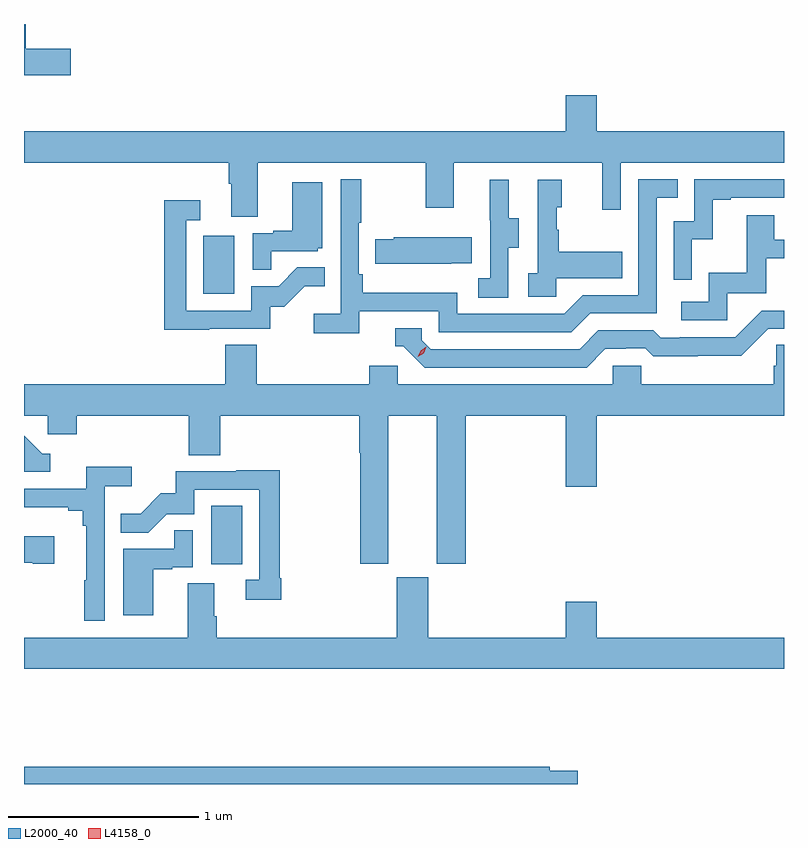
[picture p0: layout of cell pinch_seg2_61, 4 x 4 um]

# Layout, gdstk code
import gdstk
lib = gdstk.Library(unit=1e-6, precision=1e-09)
def R(c, l, rs):  # rectangles x0, y0, x1, y1
    for r in rs: c.add(gdstk.rectangle(r[:2], r[2:], *l))
def P(c, l, *ps):  # polygons
    for p in ps: c.add(gdstk.Polygon(p, *l))
L2000_40 = (2000, 40)
L4158_0 = (4158, 0)

pinch_seg2_61 = lib.new_cell('pinch_seg2_61')
R(pinch_seg2_61, L2000_40, [(1038.266,660.174,1038.43,660.481), (1038.224,661.596,1038.388,661.903)])
P(pinch_seg2_61, L2000_40, [(1037.527,662.888),(1037.291,662.888),(1037.291,663.017),(1037.281,663.017),(1037.281,662.746),(1037.527,662.746)],
  [(1038.511,662.288),(1039.396,662.288),(1039.396,662.049),(1039.543,662.049),(1039.543,662.288),(1040.324,662.288),(1040.324,662.04),(1040.421,662.04),(1040.421,662.288),(1041.281,662.288),(1041.281,662.452),(1040.296,662.452),(1040.296,662.641),(1040.132,662.641),(1040.132,662.452),(1037.281,662.452),(1037.281,662.288),(1038.359,662.288),(1038.359,662.176),(1038.371,662.176),(1038.371,662.002),(1038.511,662.002)],
  [(1039.046,661.506),(1039.464,661.506),(1039.464,661.395),(1040.161,661.395),(1040.26,661.494),(1040.61,661.494),(1040.61,662.103),(1040.723,662.103),(1040.723,662.199),(1040.514,662.199),(1040.514,661.59),(1040.223,661.59),(1040.124,661.491),(1039.56,661.491),(1039.56,661.603),(1039.064,661.603),(1039.064,661.699),(1039.044,661.699),(1039.044,661.972),(1039.057,661.972),(1039.057,662.2),(1038.948,662.2),(1038.948,661.492),(1038.807,661.492),(1038.807,661.39),(1039.046,661.39)],
  [(1040.796,661.883),(1040.906,661.883),(1040.906,662.091),(1041.001,662.091),(1041.001,662.103),(1041.281,662.103),(1041.281,662.199),(1040.808,662.199),(1040.808,661.98),(1040.7,661.98),(1040.7,661.671),(1040.796,661.671)],
  [(1039.83,661.84),(1039.885,661.84),(1039.885,661.995),(1039.831,661.995),(1039.831,662.197),(1039.733,662.197),(1039.733,661.983),(1039.734,661.983),(1039.734,661.679),(1039.671,661.679),(1039.671,661.576),(1039.83,661.576)],
  [(1040.082,661.679),(1040.429,661.679),(1040.429,661.819),(1040.095,661.819),(1040.095,661.934),(1040.085,661.934),(1040.085,662.052),(1040.11,662.052),(1040.11,662.197),(1039.986,662.197),(1039.986,661.706),(1039.935,661.706),(1039.935,661.581),(1040.082,661.581)],
  [(1038.581,661.821),(1038.828,661.821),(1038.828,661.836),(1038.85,661.836),(1038.85,662.185),(1038.692,662.185),(1038.692,661.93),(1038.593,661.93),(1038.593,661.917),(1038.486,661.917),(1038.486,661.723),(1038.581,661.723)],
  [(1038.257,661.413),(1038.576,661.413),(1038.576,661.53),(1038.652,661.53),(1038.759,661.637),(1038.863,661.637),(1038.863,661.736),(1038.719,661.736),(1038.621,661.638),(1038.477,661.638),(1038.477,661.509),(1038.135,661.509),(1038.135,661.983),(1038.208,661.983),(1038.208,662.089),(1038.019,662.089),(1038.019,661.408),(1038.257,661.408)],
  [(1040.982,661.599),(1041.187,661.599),(1041.187,661.785),(1041.281,661.785),(1041.281,661.881),(1041.229,661.881),(1041.229,662.011),(1041.085,662.011),(1041.085,661.708),(1040.886,661.708),(1040.886,661.554),(1040.739,661.554),(1040.739,661.458),(1040.982,661.458)],
  [(1039.529,661.757),(1039.637,661.757),(1039.637,661.894),(1039.227,661.894),(1039.227,661.884),(1039.129,661.884),(1039.129,661.754),(1039.529,661.754)],
  [(1040.341,661.308),(1040.448,661.308),(1040.448,661.311),(1040.551,661.311),(1040.593,661.269),(1040.826,661.269),(1040.826,661.271),(1041.056,661.271),(1041.198,661.413),(1041.281,661.413),(1041.281,661.509),(1041.165,661.509),(1041.024,661.368),(1040.731,661.368),(1040.731,661.365),(1040.632,661.365),(1040.593,661.404),(1040.304,661.404),(1040.205,661.305),(1039.422,661.305),(1039.374,661.353),(1039.374,661.416),(1039.235,661.416),(1039.235,661.32),(1039.278,661.32),(1039.389,661.209),(1040.242,661.209)],
  [(1039.198,660.956),(1039.454,660.956),(1039.454,660.177),(1039.607,660.177),(1039.607,660.956),(1040.132,660.956),(1040.132,660.582),(1040.296,660.582),(1040.296,660.956),(1041.281,660.956),(1041.281,661.328),(1041.24,661.328),(1041.24,661.218),(1041.227,661.218),(1041.227,661.12),(1040.529,661.12),(1040.529,661.218),(1040.379,661.218),(1040.379,661.12),(1039.248,661.12),(1039.248,661.218),(1039.097,661.218),(1039.097,661.12),(1038.506,661.12),(1038.506,661.328),(1038.341,661.328),(1038.341,661.12),(1037.281,661.12),(1037.281,660.956),(1037.406,660.956),(1037.406,660.858),(1037.558,660.858),(1037.558,660.956),(1038.149,660.956),(1038.149,660.748),(1038.314,660.748),(1038.314,660.956),(1039.046,660.956),(1039.046,660.76),(1039.051,660.76),(1039.051,660.177),(1039.198,660.177)],
  [(1037.419,660.756),(1037.376,660.756),(1037.281,660.851),(1037.281,660.66),(1037.419,660.66)],
  [(1037.706,660.584),(1037.848,660.584),(1037.848,660.686),(1037.609,660.686),(1037.609,660.57),(1037.281,660.57),(1037.281,660.473),(1037.513,660.473),(1037.513,660.454),(1037.59,660.454),(1037.59,660.377),(1037.609,660.377),(1037.609,660.089),(1037.598,660.089),(1037.598,659.877),(1037.706,659.877)],
  [(1038.635,660.1),(1038.628,660.1),(1038.628,660.668),(1038.397,660.668),(1038.397,660.663),(1038.079,660.663),(1038.079,660.546),(1038.002,660.546),(1037.895,660.439),(1037.791,660.439),(1037.791,660.34),(1037.935,660.34),(1038.033,660.438),(1038.177,660.438),(1038.177,660.567),(1038.519,660.567),(1038.519,660.093),(1038.447,660.093),(1038.447,659.988),(1038.635,659.988)],
  [(1037.962,660.147),(1038.062,660.147),(1038.062,660.159),(1038.168,660.159),(1038.168,660.353),(1038.073,660.353),(1038.073,660.255),(1037.804,660.255),(1037.804,659.904),(1037.962,659.904)],
  [(1037.44,660.322),(1037.281,660.322),(1037.281,660.182),(1037.327,660.182),(1037.327,660.175),(1037.44,660.175)],
  [(1041.281,659.788),(1040.296,659.788),(1040.296,659.977),(1040.132,659.977),(1040.132,659.788),(1039.408,659.788),(1039.408,660.105),(1039.244,660.105),(1039.244,659.788),(1038.296,659.788),(1038.296,659.9),(1038.283,659.9),(1038.283,660.074),(1038.143,660.074),(1038.143,659.788),(1037.281,659.788),(1037.281,659.624),(1041.281,659.624)],
  [(1040.195,659.088),(1040.048,659.088),(1040.048,659.108),(1037.281,659.108),(1037.281,659.017),(1040.195,659.017)])
P(pinch_seg2_61, L4158_0, [(1039.353,661.265),(1039.353,661.266),(1039.368,661.298),(1039.398,661.318),(1039.399,661.318),(1039.399,661.318),(1039.384,661.285),(1039.353,661.265)])

lib.write_gds('pinch_seg2_61.gds')
